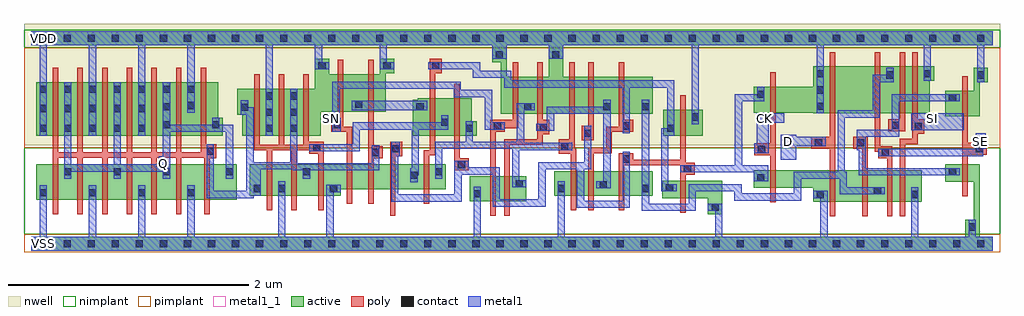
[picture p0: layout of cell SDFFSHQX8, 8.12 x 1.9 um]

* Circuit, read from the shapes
.subckt SDFFSHQX8 CK D Q SE SI SN VDD VSS
M1 Q n1 VSS VSS nfet w=0.295u l=0.045u m=7
M2 VSS n2 n1 VSS nfet w=0.26u l=0.045u m=3
M3 n3 SN VSS VSS nfet w=0.205u l=0.045u
M4 n4 n1 n3 VSS nfet w=0.205u l=0.045u
M5 n2 n5 n4 VSS nfet w=0.205u l=0.045u
M6 n6 n7 n2 VSS nfet w=0.205u l=0.045u
M7 n8 SN VSS VSS nfet w=0.205u l=0.045u
M8 n6 n9 n8 VSS nfet w=0.205u l=0.045u
M9 n10 n6 VSS VSS nfet w=0.205u l=0.045u
M10 n9 n7 n10 VSS nfet w=0.205u l=0.045u
M11 n11 n5 n9 VSS nfet w=0.205u l=0.045u
M12 VSS n5 n7 VSS nfet w=0.145u l=0.045u
M13 VSS CK n5 VSS nfet w=0.145u l=0.045u
M14 n12 D VSS VSS nfet w=0.26u l=0.045u
M15 n11 n13 n12 VSS nfet w=0.26u l=0.045u
M16 n14 SE n11 VSS nfet w=0.26u l=0.045u
M17 VSS SI n14 VSS nfet w=0.26u l=0.045u
M18 VSS SE n13 VSS nfet w=0.145u l=0.045u
M19 Q n1 VDD VDD pfet w=0.445u l=0.045u m=7
M20 VDD n2 n1 VDD pfet w=0.39u l=0.045u m=3
M21 n15 SN VDD VDD pfet w=0.31u l=0.045u
M22 VDD n1 n15 VDD pfet w=0.31u l=0.045u
M23 n2 n7 n15 VDD pfet w=0.31u l=0.045u
M24 n6 n5 n2 VDD pfet w=0.31u l=0.045u
M25 n6 SN VDD VDD pfet w=0.31u l=0.045u
M26 VDD n9 n6 VDD pfet w=0.31u l=0.045u
M27 n16 n6 VDD VDD pfet w=0.31u l=0.045u
M28 n9 n5 n16 VDD pfet w=0.31u l=0.045u
M29 n11 n7 n9 VDD pfet w=0.31u l=0.045u
M30 VDD n5 n7 VDD pfet w=0.215u l=0.045u
M31 VDD CK n5 VDD pfet w=0.215u l=0.045u
M32 n17 D VDD VDD pfet w=0.39u l=0.045u
M33 n11 SE n17 VDD pfet w=0.39u l=0.045u
M34 n18 n13 n11 VDD pfet w=0.39u l=0.045u
M35 VDD SI n18 VDD pfet w=0.39u l=0.045u
M36 VDD SE n13 VDD pfet w=0.215u l=0.045u
.ends

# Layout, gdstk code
import gdstk
lib = gdstk.Library(unit=1e-6, precision=5e-10)
def R(c, l, rs):  # rectangles x0, y0, x1, y1
    for r in rs: c.add(gdstk.rectangle(r[:2], r[2:], *l))
def A(c, l, x, y, w, h, nx, ny, dx, dy):  # array of equal rectangles
    R(c, l, [(x+i*dx, y+j*dy, x+i*dx+w, y+j*dy+h) for i in range(nx) for j in range(ny)])
def P(c, l, *ps):  # polygons
    for p in ps: c.add(gdstk.Polygon(p, *l))
active = (1, 0)
nwell = (2, 0)
poly = (3, 0)
nimplant = (4, 0)
pimplant = (5, 0)
contact = (6, 0)
metal1 = (7, 0)
metal1_1 = (7, 1)

sdffshqx8 = lib.new_cell('SDFFSHQX8')
R(sdffshqx8, active, [(3.65,0.355,4.12,0.56), (0.04,0.365,1.71,0.66), (4.35,0.4,5.17,0.605), (5.26,0.9,5.585,1.115)])
P(sdffshqx8, active, [(0,1.77),(8,1.77),(8,1.65),(4.425,1.65),(4.425,1.39),(5.17,1.39),(5.17,1.08),(3.905,1.08),(3.905,1.51),(3.835,1.51),(3.835,1.65),(3.955,1.65),(3.955,1.39),(4.305,1.39),(4.305,1.65),(0,1.65)],
  [(2.36,1.54),(2.48,1.54),(2.48,1.41),(2.9,1.41),(2.9,1.54),(3.02,1.54),(3.02,1.42),(2.95,1.42),(2.95,1.1),(2.41,1.1),(2.41,0.9),(1.755,0.9),(1.755,1.075),(1.715,1.075),(1.715,1.29),(2.36,1.29)],
  [(0.04,1.345),(1.555,1.345),(1.555,1.05),(1.595,1.05),(1.595,0.9),(0.04,0.9)],
  [(3.215,1.21),(3.665,1.21),(3.665,1.02),(3.705,1.02),(3.705,0.9),(3.175,0.9),(3.175,1.2),(3.215,1.2)],
  [(6.505,1.475),(7.515,1.475),(7.515,1.355),(7.475,1.355),(7.475,1.085),(6.505,1.085),(6.505,1.09),(6.01,1.09),(6.01,1.305),(6.505,1.305)],
  [(7.84,1.465),(7.96,1.465),(7.96,1.345),(7.89,1.345),(7.89,1.06),(7.605,1.06),(7.605,1.275),(7.84,1.275)],
  [(1.82,0.66),(3.45,0.66),(3.45,0.455),(2.575,0.455),(2.575,0.4),(1.82,0.4)],
  [(7.605,0.66),(7.89,0.66),(7.89,0.06),(8,0.06),(8,-0.06),(0,-0.06),(0,0.06),(7.77,0.06),(7.77,0.2),(7.84,0.2),(7.84,0.515),(7.605,0.515)],
  [(5.25,0.525),(5.75,0.525),(5.75,0.245),(5.63,0.245),(5.63,0.38),(5.25,0.38)],
  [(6.01,0.61),(7.41,0.61),(7.41,0.35),(6.505,0.35),(6.505,0.465),(6.01,0.465)])
R(sdffshqx8, nwell, [(-0.06,0.82,8.06,1.83)])
P(sdffshqx8, poly, [(0.18,1.465),(0.225,1.465),(0.225,0.76),(0.385,0.76),(0.385,1.465),(0.43,1.465),(0.43,0.76),(0.59,0.76),(0.59,1.465),(0.635,1.465),(0.635,0.76),(0.795,0.76),(0.795,1.465),(0.84,1.465),(0.84,0.76),(1,0.76),(1,1.465),(1.045,1.465),(1.045,0.76),(1.205,0.76),(1.205,1.465),(1.25,1.465),(1.25,0.76),(1.41,0.76),(1.41,1.465),(1.455,1.465),(1.455,0.83),(1.54,0.83),(1.54,0.71),(1.485,0.71),(1.485,0.245),(1.44,0.245),(1.44,0.715),(1.25,0.715),(1.25,0.245),(1.205,0.245),(1.205,0.715),(1.045,0.715),(1.045,0.245),(1,0.245),(1,0.715),(0.84,0.715),(0.84,0.245),(0.795,0.245),(0.795,0.715),(0.635,0.715),(0.635,0.245),(0.59,0.245),(0.59,0.715),(0.43,0.715),(0.43,0.245),(0.385,0.245),(0.385,0.715),(0.225,0.715),(0.225,0.245),(0.18,0.245)],
  [(1.855,1.41),(1.9,1.41),(1.9,0.825),(2.06,0.825),(2.06,1.41),(2.105,1.41),(2.105,0.825),(2.265,0.825),(2.265,1.41),(2.31,1.41),(2.31,0.85),(2.435,0.85),(2.435,0.28),(2.39,0.28),(2.39,0.75),(2.315,0.75),(2.315,0.78),(2.21,0.78),(2.21,0.28),(2.165,0.28),(2.165,0.78),(2.005,0.78),(2.005,0.28),(1.96,0.28),(1.96,0.78),(1.855,0.78)],
  [(2.55,1.53),(2.595,1.53),(2.595,0.975),(2.67,0.975),(2.67,0.335),(2.625,0.335),(2.625,0.93),(2.495,0.93),(2.495,1.05),(2.55,1.05)],
  [(2.805,1.53),(2.85,1.53),(2.85,0.81),(2.925,0.81),(2.925,0.71),(2.85,0.71),(2.85,0.335),(2.805,0.335)],
  [(3.315,1.54),(3.415,1.54),(3.415,1.42),(3.36,1.42),(3.36,0.735),(3.31,0.735),(3.31,0.335),(3.265,0.335),(3.265,0.78),(3.315,0.78)],
  [(4.005,1.51),(4.05,1.51),(4.05,0.96),(3.94,0.96),(3.94,0.93),(3.865,0.93),(3.865,0.235),(3.82,0.235),(3.82,1.03),(4.005,1.03)],
  [(4.21,1.51),(4.255,1.51),(4.255,1.03),(4.31,1.03),(4.31,0.91),(4.255,0.91),(4.255,0.825),(3.98,0.825),(3.98,0.235),(3.935,0.235),(3.935,0.87),(4.21,0.87)],
  [(4.475,1.51),(4.52,1.51),(4.52,0.79),(4.535,0.79),(4.535,0.28),(4.49,0.28),(4.49,0.75),(4.39,0.75),(4.39,0.87),(4.475,0.87)],
  [(4.635,1.51),(4.68,1.51),(4.68,0.86),(4.58,0.86),(4.58,0.98),(4.635,0.98)],
  [(4.89,1.51),(4.935,1.51),(4.935,1.03),(5.01,1.03),(5.01,0.93),(4.83,0.93),(4.83,0.755),(4.68,0.755),(4.68,0.28),(4.635,0.28),(4.635,0.8),(4.785,0.8),(4.785,0.975),(4.89,0.975)],
  [(3.52,1.33),(3.565,1.33),(3.565,0.71),(3.64,0.71),(3.64,0.61),(3.52,0.61)],
  [(6.15,1.425),(6.195,1.425),(6.195,0.345),(6.15,0.345),(6.15,0.735),(6.015,0.735),(6.015,0.835),(6.15,0.835)],
  [(6.645,1.595),(6.69,1.595),(6.69,0.23),(6.645,0.23),(6.645,0.79),(6.49,0.79),(6.49,0.89),(6.645,0.89)],
  [(7.02,1.595),(7.065,1.595),(7.065,0.81),(7.165,0.81),(7.165,0.23),(7.12,0.23),(7.12,0.71),(7.045,0.71),(7.045,0.765),(7.02,0.765)],
  [(7.225,1.595),(7.27,1.595),(7.27,0.935),(7.13,0.935),(7.13,1.035),(7.225,1.035)],
  [(7.33,1.595),(7.375,1.595),(7.375,1.035),(7.43,1.035),(7.43,0.915),(7.375,0.915),(7.375,0.83),(7.27,0.83),(7.27,0.23),(7.225,0.23),(7.225,0.875),(7.33,0.875)],
  [(4.89,0.755),(5.01,0.755),(5.01,0.7),(5.4,0.7),(5.4,1.235),(5.445,1.235),(5.445,0.675),(5.52,0.675),(5.52,0.575),(5.445,0.575),(5.445,0.26),(5.4,0.26),(5.4,0.655),(4.935,0.655),(4.935,0.28),(4.89,0.28)],
  [(7.745,1.395),(7.79,1.395),(7.79,0.84),(7.95,0.84),(7.95,0.74),(7.79,0.74),(7.79,0.395),(7.745,0.395)],
  [(6.84,0.89),(6.96,0.89),(6.96,0.23),(6.915,0.23),(6.915,0.79),(6.84,0.79)],
  [(2.985,0.85),(3.085,0.85),(3.085,0.73),(3.03,0.73),(3.03,0.235),(2.985,0.235)])
R(sdffshqx8, nimplant, [(-0.06,0.08,8.06,0.8), (-0.06,1.63,8.06,1.78)])
R(sdffshqx8, pimplant, [(-0.06,-0.07,8.06,0.08), (-0.06,0.8,8.06,1.63)])
A(sdffshqx8, contact, 0.07, -0.03, 0.06, 0.06, 40, 2, 0.2, 1.71)
A(sdffshqx8, contact, 0.07, 0.395, 0.06, 0.06, 4, 1, 0.41, 0)
A(sdffshqx8, contact, 0.275, 0.57, 0.06, 0.06, 3, 1, 0.41, 0)
A(sdffshqx8, contact, 0.07, 0.93, 0.06, 0.06, 5, 2, 0.205, 0.165)
A(sdffshqx8, contact, 1.95, 0.93, 0.06, 0.06, 1, 3, 0, 0.135)
A(sdffshqx8, contact, 2.155, 0.93, 0.06, 0.06, 1, 3, 0, 0.135)
A(sdffshqx8, contact, 6.535, 1.115, 0.06, 0.06, 1, 3, 0, 0.135)
A(sdffshqx8, contact, 0.07, 1.255, 0.06, 0.06, 7, 1, 0.205, 0)
R(sdffshqx8, contact, [(7.8,0.11,7.86,0.17), (5.66,0.275,5.72,0.335), (6.535,0.38,6.595,0.44), (7.32,0.38,7.38,0.44), (3.68,0.385,3.74,0.445), (7.01,0.41,7.07,0.47), (1.85,0.43,1.91,0.49), (2.055,0.43,2.115,0.49), (2.485,0.43,2.545,0.49), (4.38,0.43,4.44,0.49), (5.08,0.43,5.14,0.49), (5.28,0.435,5.34,0.495), (4.73,0.46,4.79,0.52), (4.03,0.47,4.09,0.53), (6.04,0.52,6.1,0.58), (3.155,0.54,3.215,0.6), (1.62,0.57,1.68,0.63), (2.26,0.57,2.32,0.63), (3.36,0.57,3.42,0.63), (7.635,0.57,7.695,0.63), (5.43,0.595,5.49,0.655), (3.55,0.63,3.61,0.69), (4.92,0.675,4.98,0.735), (2.835,0.73,2.895,0.79), (7.075,0.73,7.135,0.79), (1.46,0.74,1.52,0.8), (6.045,0.755,6.105,0.815), (3.005,0.76,3.065,0.82), (7.86,0.76,7.92,0.82), (2.345,0.77,2.405,0.83), (4.41,0.78,4.47,0.84), (6.52,0.81,6.58,0.87), (6.87,0.81,6.93,0.87), (4.6,0.89,4.66,0.95), (3.615,0.93,3.675,0.99), (5.29,0.93,5.35,0.99), (4.23,0.94,4.29,1), (7.35,0.945,7.41,1.005), (3.85,0.95,3.91,1.01), (4.92,0.95,4.98,1.01), (7.16,0.955,7.22,1.015), (1.095,0.96,1.155,1.02), (1.505,0.96,1.565,1.02), (2.515,0.96,2.575,1.02), (3.41,0.98,3.47,1.04), (5.495,1.025,5.555,1.085), (1.745,1.105,1.805,1.165), (1.095,1.11,1.155,1.17), (3.205,1.11,3.265,1.17), (4.1,1.11,4.16,1.17), (4.76,1.11,4.82,1.17), (5.08,1.11,5.14,1.17), (1.3,1.12,1.36,1.18), (2.695,1.13,2.755,1.19), (7.635,1.185,7.695,1.245), (6.04,1.215,6.1,1.275), (7.115,1.375,7.175,1.435), (7.87,1.375,7.93,1.435), (7.425,1.385,7.485,1.445), (2.39,1.45,2.45,1.51), (2.93,1.45,2.99,1.51), (3.335,1.45,3.395,1.51), (3.865,1.54,3.925,1.6), (4.335,1.54,4.395,1.6)])
R(sdffshqx8, metal1, [(7.32,0.945,7.76,1.085), (2.665,1.11,3.295,1.19)])
P(sdffshqx8, metal1, [(0,1.77),(8,1.77),(8,1.65),(7.93,1.65),(7.93,1.345),(7.87,1.345),(7.87,1.65),(7.485,1.65),(7.485,1.355),(7.425,1.355),(7.425,1.65),(6.595,1.65),(6.595,1.085),(6.535,1.085),(6.535,1.65),(5.555,1.65),(5.555,0.995),(5.495,0.995),(5.495,1.65),(4.425,1.65),(4.425,1.54),(4.305,1.54),(4.305,1.65),(3.955,1.65),(3.955,1.54),(3.835,1.54),(3.835,1.65),(2.96,1.65),(2.96,1.51),(3.02,1.51),(3.02,1.45),(2.9,1.45),(2.9,1.65),(2.42,1.65),(2.42,1.51),(2.48,1.51),(2.48,1.45),(2.36,1.45),(2.36,1.65),(2.01,1.65),(2.01,0.9),(1.95,0.9),(1.95,1.65),(1.36,1.65),(1.36,1.09),(1.3,1.09),(1.3,1.65),(0.95,1.65),(0.95,0.9),(0.89,0.9),(0.89,1.65),(0.54,1.65),(0.54,0.9),(0.48,0.9),(0.48,1.65),(0.13,1.65),(0.13,0.9),(0.07,0.9),(0.07,1.65),(0,1.65)],
  [(0.275,1.345),(0.335,1.345),(0.335,0.66),(0.685,0.66),(0.685,1.345),(0.745,1.345),(0.745,0.66),(1.06,0.66),(1.06,0.73),(1.095,0.73),(1.095,1.345),(1.155,1.345),(1.155,0.99),(1.505,0.99),(1.505,1.05),(1.565,1.05),(1.565,0.99),(1.68,0.99),(1.68,0.54),(1.62,0.54),(1.62,0.93),(1.155,0.93),(1.155,0.54),(1.095,0.54),(1.095,0.6),(0.745,0.6),(0.745,0.54),(0.685,0.54),(0.685,0.6),(0.335,0.6),(0.335,0.54),(0.275,0.54)],
  [(1.745,1.195),(1.805,1.195),(1.805,1.135),(1.85,1.135),(1.85,0.68),(2.155,0.68),(2.155,1.29),(2.215,1.29),(2.215,0.67),(2.835,0.67),(2.835,0.82),(2.895,0.82),(2.895,0.61),(2.32,0.61),(2.32,0.54),(2.26,0.54),(2.26,0.61),(2.175,0.61),(2.175,0.62),(1.91,0.62),(1.91,0.4),(1.85,0.4),(1.85,0.38),(1.46,0.38),(1.46,0.83),(1.52,0.83),(1.52,0.44),(1.79,0.44),(1.79,1.075),(1.745,1.075)],
  [(0.07,0.485),(0.13,0.485),(0.13,0.06),(0.48,0.06),(0.48,0.485),(0.54,0.485),(0.54,0.06),(0.89,0.06),(0.89,0.485),(0.95,0.485),(0.95,0.06),(1.3,0.06),(1.3,0.485),(1.36,0.485),(1.36,0.06),(2.055,0.06),(2.055,0.52),(2.115,0.52),(2.115,0.06),(2.455,0.06),(2.455,0.49),(2.575,0.49),(2.575,0.43),(2.515,0.43),(2.515,0.06),(3.68,0.06),(3.68,0.475),(3.74,0.475),(3.74,0.06),(4.38,0.06),(4.38,0.52),(4.44,0.52),(4.44,0.06),(5.69,0.06),(5.69,0.275),(5.63,0.275),(5.63,0.335),(5.75,0.335),(5.75,0.06),(6.565,0.06),(6.565,0.38),(6.505,0.38),(6.505,0.44),(6.625,0.44),(6.625,0.06),(7.32,0.06),(7.32,0.47),(7.38,0.47),(7.38,0.06),(7.8,0.06),(7.8,0.2),(7.86,0.2),(7.86,0.06),(8,0.06),(8,-0.06),(0,-0.06),(0,0.06),(0.07,0.06)],
  [(3.305,1.51),(3.735,1.51),(3.735,1.44),(3.995,1.44),(3.995,1.36),(5.35,1.36),(5.35,0.9),(5.3,0.9),(5.3,0.495),(5.37,0.495),(5.37,0.435),(5.24,0.435),(5.24,0.96),(5.29,0.96),(5.29,1.3),(4.98,1.3),(4.98,0.92),(4.92,0.92),(4.92,1.3),(3.935,1.3),(3.935,1.38),(3.675,1.38),(3.675,1.45),(3.305,1.45)],
  [(2.505,1.35),(3.575,1.35),(3.575,1.28),(3.835,1.28),(3.835,1.01),(3.94,1.01),(3.94,0.95),(3.775,0.95),(3.775,1.22),(3.515,1.22),(3.515,1.29),(2.565,1.29),(2.565,1.05),(2.575,1.05),(2.575,0.93),(2.505,0.93),(2.505,1.005),(2.435,1.005),(2.435,1.085),(2.505,1.085)],
  [(4.76,1.2),(4.82,1.2),(4.82,0.46),(4.7,0.46),(4.7,0.52),(4.76,0.52),(4.76,1.08),(4.35,1.08),(4.35,0.94),(4.2,0.94),(4.2,1),(4.29,1),(4.29,1.14),(4.76,1.14)],
  [(3.41,1.07),(3.47,1.07),(3.47,0.95),(3.225,0.95),(3.225,0.57),(3.215,0.57),(3.215,0.51),(3.155,0.51),(3.155,0.63),(3.165,0.63),(3.165,0.95),(2.735,0.95),(2.735,0.77),(2.315,0.77),(2.315,0.83),(2.675,0.83),(2.675,1.01),(3.41,1.01)],
  [(4.04,1.17),(4.19,1.17),(4.19,1.11),(4.1,1.11),(4.1,0.84),(4.5,0.84),(4.5,0.78),(4.06,0.78),(4.06,0.53),(4.12,0.53),(4.12,0.47),(4,0.47),(4,0.79),(3.42,0.79),(3.42,0.54),(3.36,0.54),(3.36,0.85),(3.615,0.85),(3.615,1.02),(3.675,1.02),(3.675,0.85),(4.04,0.85)],
  [(2.995,0.85),(3.065,0.85),(3.065,0.73),(3.055,0.73),(3.055,0.41),(3.52,0.41),(3.52,0.69),(3.64,0.69),(3.64,0.635),(3.9,0.635),(3.9,0.37),(4.22,0.37),(4.22,0.68),(4.6,0.68),(4.6,0.98),(4.66,0.98),(4.66,0.62),(4.6,0.62),(4.6,0.36),(4.92,0.36),(4.92,0.765),(4.98,0.765),(4.98,0.3),(4.54,0.3),(4.54,0.62),(4.28,0.62),(4.28,0.31),(3.84,0.31),(3.84,0.575),(3.58,0.575),(3.58,0.35),(2.995,0.35)],
  [(7.115,1.465),(7.175,1.465),(7.175,1.345),(7.06,1.345),(7.06,1.05),(6.77,1.05),(6.77,0.6),(6.785,0.6),(6.785,0.47),(7.1,0.47),(7.1,0.41),(6.725,0.41),(6.725,0.54),(6.405,0.54),(6.405,0.36),(5.85,0.36),(5.85,0.435),(5.53,0.435),(5.53,0.275),(5.08,0.275),(5.08,1.2),(5.14,1.2),(5.14,0.335),(5.47,0.335),(5.47,0.495),(5.91,0.495),(5.91,0.42),(6.345,0.42),(6.345,0.6),(6.71,0.6),(6.71,1.11),(7,1.11),(7,1.405),(7.115,1.405)],
  [(6.04,1.305),(6.1,1.305),(6.1,1.185),(5.915,1.185),(5.915,0.655),(6.13,0.655),(6.13,0.52),(6.01,0.52),(6.01,0.595),(5.4,0.595),(5.4,0.655),(5.855,0.655),(5.855,1.245),(6.04,1.245)],
  [(6.035,1.085),(6.265,1.085),(6.265,1.005),(6.135,1.005),(6.135,0.755),(6.015,0.755),(6.015,0.835),(6.035,0.835)],
  [(6.235,0.905),(6.365,0.905),(6.365,0.89),(6.61,0.89),(6.61,0.81),(6.365,0.81),(6.365,0.7),(6.235,0.7)],
  [(7.16,1.245),(7.725,1.245),(7.725,1.185),(7.22,1.185),(7.22,0.89),(6.945,0.89),(6.945,0.63),(7.725,0.63),(7.725,0.57),(6.885,0.57),(6.885,0.78),(6.87,0.78),(6.87,0.95),(7.16,0.95)],
  [(7.86,0.92),(7.94,0.92),(7.94,0.79),(7.92,0.79),(7.92,0.73),(7.045,0.73),(7.045,0.79),(7.86,0.79)])
R(sdffshqx8, metal1_1, [(0.06,-0.04,0.14,0.04), (1.06,0.625,1.14,0.705), (6.26,0.815,6.34,0.895), (7.86,0.815,7.94,0.895), (2.46,1.005,2.54,1.085), (6.06,1.005,6.14,1.085), (7.46,1.005,7.54,1.085), (0.06,1.67,0.14,1.75)])
sdffshqx8.add(gdstk.Label('Q', (1.1,0.665), layer=7, texttype=1))
sdffshqx8.add(gdstk.Label('SE', (7.9,0.855), layer=7, texttype=1))
sdffshqx8.add(gdstk.Label('SI', (7.5,1.045), layer=7, texttype=1))
sdffshqx8.add(gdstk.Label('D', (6.3,0.855), layer=7, texttype=1))
sdffshqx8.add(gdstk.Label('CK', (6.1,1.045), layer=7, texttype=1))
sdffshqx8.add(gdstk.Label('SN', (2.5,1.045), layer=7, texttype=1))
sdffshqx8.add(gdstk.Label('VDD', (0.1,1.71), layer=7, texttype=1))
sdffshqx8.add(gdstk.Label('VSS', (0.1,0), layer=7, texttype=1))
sdffshqx8.add(gdstk.Label('SDFFSHQX8', (0,0), layer=63, texttype=0))

lib.write_gds('SDFFSHQX8.gds')
